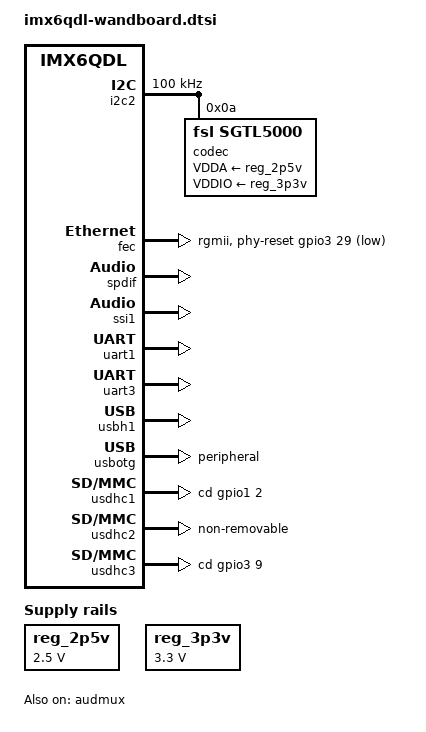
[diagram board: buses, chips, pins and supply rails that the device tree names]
/*
 * Copyright 2013 Freescale Semiconductor, Inc.
 *
 * Author: Fabio Estevam <fabio.estevam@freescale.com>
 *
 * This program is free software; you can redistribute it and/or modify
 * it under the terms of the GNU General Public License version 2 as
 * published by the Free Software Foundation.
 *
 */

/ {
	regulators {
		compatible = "simple-bus";
		#address-cells = <1>;
		#size-cells = <0>;

		reg_2p5v: regulator@0 {
			compatible = "regulator-fixed";
			reg = <0>;
			regulator-name = "2P5V";
			regulator-min-microvolt = <2500000>;
			regulator-max-microvolt = <2500000>;
			regulator-always-on;
		};

		reg_3p3v: regulator@1 {
			compatible = "regulator-fixed";
			reg = <1>;
			regulator-name = "3P3V";
			regulator-min-microvolt = <3300000>;
			regulator-max-microvolt = <3300000>;
			regulator-always-on;
		};
	};

	sound {
		compatible = "fsl,imx6-wandboard-sgtl5000",
			     "fsl,imx-audio-sgtl5000";
		model = "imx6-wandboard-sgtl5000";
		ssi-controller = <&ssi1>;
		audio-codec = <&codec>;
		audio-routing =
			"MIC_IN", "Mic Jack",
			"Mic Jack", "Mic Bias",
			"Headphone Jack", "HP_OUT";
		mux-int-port = <1>;
		mux-ext-port = <3>;
	};

	sound-spdif {
		compatible = "fsl,imx-audio-spdif";
		model = "imx-spdif";
		spdif-controller = <&spdif>;
		spdif-out;
	};
};

&audmux {
	pinctrl-names = "default";
	pinctrl-0 = <&pinctrl_audmux>;
	status = "okay";
};

&i2c2 {
	clock-frequency = <100000>;
	pinctrl-names = "default";
	pinctrl-0 = <&pinctrl_i2c2>;
	status = "okay";

	codec: sgtl5000@0a {
		compatible = "fsl,sgtl5000";
		reg = <0x0a>;
		clocks = <&clks 201>;
		VDDA-supply = <&reg_2p5v>;
		VDDIO-supply = <&reg_3p3v>;
	};
};

&iomuxc {
	pinctrl-names = "default";
	pinctrl-0 = <&pinctrl_hog>;

	imx6qdl-wandboard {
		pinctrl_hog: hoggrp {
			fsl,pins = <
				MX6QDL_PAD_GPIO_0__CCM_CLKO1 	 0x130b0
				MX6QDL_PAD_GPIO_2__GPIO1_IO02	 0x80000000
				MX6QDL_PAD_EIM_DA9__GPIO3_IO09	 0x80000000
				MX6QDL_PAD_EIM_EB1__GPIO2_IO29   0x80000000 /* WL_REF_ON */
				MX6QDL_PAD_EIM_A25__GPIO5_IO02   0x80000000 /* WL_RST_N */
				MX6QDL_PAD_ENET_RXD1__GPIO1_IO26 0x80000000 /* WL_REG_ON */
				MX6QDL_PAD_ENET_TXD1__GPIO1_IO29 0x80000000 /* WL_HOST_WAKE */
				MX6QDL_PAD_ENET_TXD0__GPIO1_IO30 0x80000000 /* WL_WAKE */
				MX6QDL_PAD_EIM_D29__GPIO3_IO29   0x80000000
			>;
		};

		pinctrl_audmux: audmuxgrp {
			fsl,pins = <MX6QDL_AUDMUX_PINGRP2>;
		};

		pinctrl_enet: enetgrp {
			fsl,pins = <MX6QDL_ENET_PINGRP1>;
		};

		pinctrl_i2c2: i2c2grp {
			fsl,pins = <MX6QDL_I2C2_PINGRP2>;
		};

		pinctrl_spdif: spdifgrp {
			fsl,pins = <MX6QDL_SPDIF_PINGRP3>;
		};

		pinctrl_uart1: uart1grp {
			fsl,pins = <MX6QDL_UART1_PINGRP1>;
		};

		pinctrl_uart3: uart3grp {
			fsl,pins = <MX6QDL_UART3_PINGRP2>;
		};

		pinctrl_usbotg: usbotggrp {
			fsl,pins = <MX6QDL_USBOTG_PINGRP1>;
		};

		pinctrl_usdhc1: usdhc1grp {
			fsl,pins = <MX6QDL_USDHC1_PINGRP2>;
		};

		pinctrl_usdhc2: usdhc2grp {
			fsl,pins = <MX6QDL_USDHC2_PINGRP2>;
		};

		pinctrl_usdhc3: usdhc3grp {
			fsl,pins = <MX6QDL_USDHC3_PINGRP2>;
		};
	};
};

&fec {
	pinctrl-names = "default";
	pinctrl-0 = <&pinctrl_enet>;
	phy-mode = "rgmii";
	phy-reset-gpios = <&gpio3 29 0>;
	status = "okay";
};

&spdif {
	pinctrl-names = "default";
	pinctrl-0 = <&pinctrl_spdif>;
	status = "okay";
};

&ssi1 {
	fsl,mode = "i2s-slave";
	status = "okay";
};

&uart1 {
	pinctrl-names = "default";
	pinctrl-0 = <&pinctrl_uart1>;
	status = "okay";
};

&uart3 {
	pinctrl-names = "default";
	pinctrl-0 = <&pinctrl_uart3>;
	fsl,uart-has-rtscts;
	status = "okay";
};

&usbh1 {
	status = "okay";
};

&usbotg {
	pinctrl-names = "default";
	pinctrl-0 = <&pinctrl_usbotg>;
	disable-over-current;
	dr_mode = "peripheral";
	status = "okay";
};

&usdhc1 {
	pinctrl-names = "default";
	pinctrl-0 = <&pinctrl_usdhc1>;
	cd-gpios = <&gpio1 2 0>;
	status = "okay";
};

&usdhc2 {
	pinctrl-names = "default";
	pinctrl-0 = <&pinctrl_usdhc2>;
	non-removable;
	status = "okay";
};

&usdhc3 {
	pinctrl-names = "default";
	pinctrl-0 = <&pinctrl_usdhc3>;
	cd-gpios = <&gpio3 9 0>;
	status = "okay";
};
